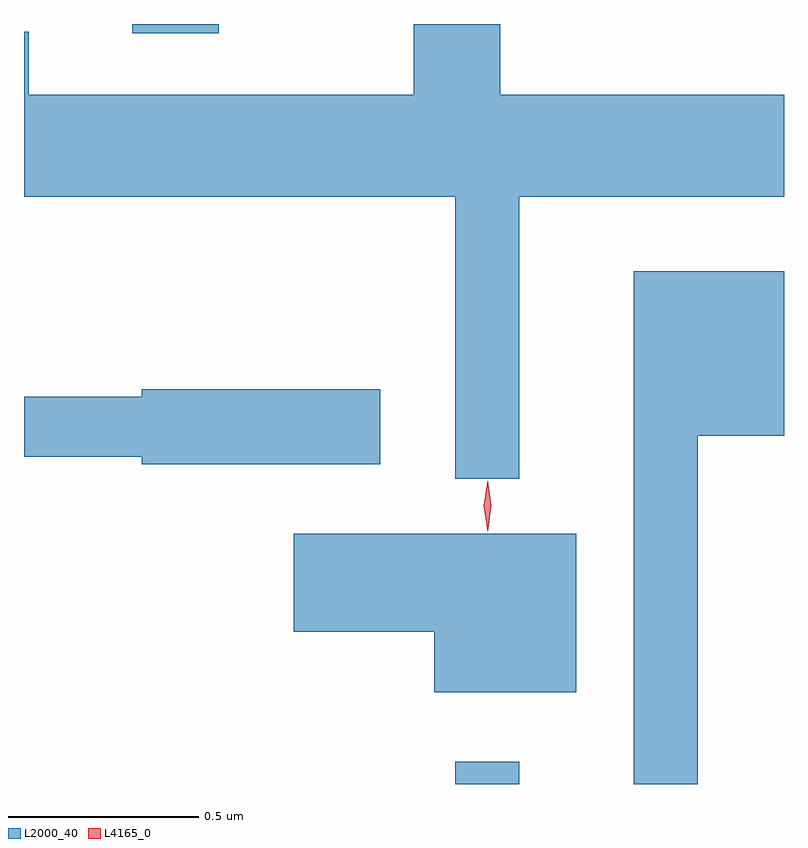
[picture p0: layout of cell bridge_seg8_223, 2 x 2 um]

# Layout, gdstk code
import gdstk
lib = gdstk.Library(unit=1e-6, precision=1e-09)
def R(c, l, rs):  # rectangles x0, y0, x1, y1
    for r in rs: c.add(gdstk.rectangle(r[:2], r[2:], *l))
def P(c, l, *ps):  # polygons
    for p in ps: c.add(gdstk.Polygon(p, *l))
L2000_40 = (2000, 40)
L4165_0 = (4165, 0)

bridge_seg8_223 = lib.new_cell('bridge_seg8_223')
R(bridge_seg8_223, L2000_40, [(1090.771,1934.77,1090.939,1934.828), (1089.921,1936.746,1090.149,1936.77)])
P(bridge_seg8_223, L2000_40, [(1090.939,1936.316),(1091.636,1936.316),(1091.636,1936.584),(1090.889,1936.584),(1090.889,1936.77),(1090.661,1936.77),(1090.661,1936.584),(1089.649,1936.584),(1089.649,1936.749),(1089.636,1936.749),(1089.636,1936.316),(1090.771,1936.316),(1090.771,1935.573),(1090.939,1935.573)],
  [(1091.409,1935.686),(1091.636,1935.686),(1091.636,1936.119),(1091.241,1936.119),(1091.241,1934.77),(1091.409,1934.77)],
  [(1090.574,1935.809),(1089.946,1935.809),(1089.946,1935.789),(1089.636,1935.789),(1089.636,1935.631),(1089.946,1935.631),(1089.946,1935.611),(1090.574,1935.611)],
  [(1091.089,1935.429),(1090.346,1935.429),(1090.346,1935.171),(1090.716,1935.171),(1090.716,1935.011),(1091.089,1935.011)])
P(bridge_seg8_223, L4165_0, [(1090.857,1935.44),(1090.856,1935.441),(1090.847,1935.504),(1090.856,1935.566),(1090.856,1935.567),(1090.857,1935.566),(1090.866,1935.504),(1090.858,1935.441)],
  [(1090.856,1935.434),(1090.846,1935.502),(1090.856,1935.57),(1090.856,1935.57),(1090.857,1935.57),(1090.866,1935.502),(1090.857,1935.434),(1090.857,1935.434)])

lib.write_gds('bridge_seg8_223.gds')
